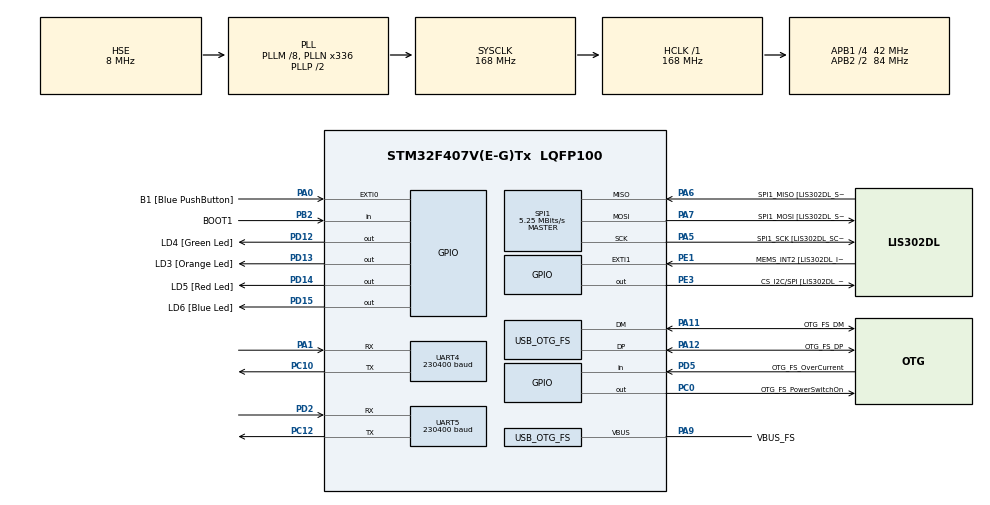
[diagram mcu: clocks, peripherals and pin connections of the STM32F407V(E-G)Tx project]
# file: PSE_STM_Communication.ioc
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Dma.Request0=UART4_RX
Dma.Request1=UART5_RX
Dma.UART4_RX.0.Direction=DMA_PERIPH_TO_MEMORY
Dma.UART4_RX.0.FIFOMode=DMA_FIFOMODE_DISABLE
Dma.UART4_RX.0.Instance=DMA1_Stream2
Dma.UART4_RX.0.MemDataAlignment=DMA_MDATAALIGN_BYTE
Dma.UART4_RX.0.MemInc=DMA_MINC_ENABLE
Dma.UART4_RX.0.Mode=DMA_NORMAL
Dma.UART4_RX.0.PeriphDataAlignment=DMA_PDATAALIGN_BYTE
Dma.UART4_RX.0.PeriphInc=DMA_PINC_DISABLE
Dma.UART4_RX.0.Priority=DMA_PRIORITY_LOW
Dma.UART5_RX.1.Direction=DMA_PERIPH_TO_MEMORY
Dma.UART5_RX.1.FIFOMode=DMA_FIFOMODE_DISABLE
Dma.UART5_RX.1.Instance=DMA1_Stream0
Dma.UART5_RX.1.MemDataAlignment=DMA_MDATAALIGN_BYTE
Dma.UART5_RX.1.MemInc=DMA_MINC_ENABLE
Dma.UART5_RX.1.Mode=DMA_NORMAL
Dma.UART5_RX.1.PeriphDataAlignment=DMA_PDATAALIGN_BYTE
Dma.UART5_RX.1.PeriphInc=DMA_PINC_DISABLE
Dma.UART5_RX.1.Priority=DMA_PRIORITY_LOW
Mcu.Family=STM32F4
Mcu.Name=STM32F407V(E-G)Tx
Mcu.Package=LQFP100
NVIC.DMA1_Stream0_IRQn=true\:0\:0\:false\:false\:true\:false\:true\:true
NVIC.DMA1_Stream2_IRQn=true\:0\:0\:false\:false\:true\:false\:true\:true
NVIC.EXTI0_IRQn=true\:0\:0\:false\:false\:true\:true\:true\:true
NVIC.OTG_FS_IRQn=true\:0\:0\:false\:false\:true\:true\:true\:true
NVIC.PriorityGroup=NVIC_PRIORITYGROUP_0
NVIC.TIM2_IRQn=true\:0\:0\:false\:false\:true\:true\:true\:true
NVIC.UART4_IRQn=true\:0\:0\:false\:false\:true\:true\:true\:true
NVIC.UART5_IRQn=true\:0\:0\:false\:false\:true\:true\:true\:true
PA0-WKUP.GPIO_Label=B1 [Blue PushButton]
PA0-WKUP.GPIO_ModeDefaultEXTI=GPIO_MODE_IT_RISING
PA0-WKUP.GPIO_PuPd=GPIO_NOPULL
PA0-WKUP.Signal=GPXTI0
PA1.Mode=Asynchronous
PA1.Signal=UART4_RX
PA10.GPIO_Label=OTG_FS_ID
PA10.GPIO_Mode=GPIO_MODE_AF_PP
PA10.GPIO_PuPd=GPIO_NOPULL
PA10.GPIO_Speed=GPIO_SPEED_FREQ_LOW
PA10.Signal=USB_OTG_FS_ID
PA11.GPIO_Label=OTG_FS_DM
PA11.GPIO_Mode=GPIO_MODE_AF_PP
PA11.GPIO_PuPd=GPIO_NOPULL
PA11.GPIO_Speed=GPIO_SPEED_FREQ_LOW
PA11.Mode=Host_Only
PA11.Signal=USB_OTG_FS_DM
PA12.GPIO_Label=OTG_FS_DP
PA12.GPIO_Mode=GPIO_MODE_AF_PP
PA12.GPIO_PuPd=GPIO_NOPULL
PA12.GPIO_Speed=GPIO_SPEED_FREQ_LOW
PA12.Mode=Host_Only
PA12.Signal=USB_OTG_FS_DP
PA13.GPIO_Label=SWDIO
PA13.Mode=Serial_Wire
PA13.Signal=SYS_JTMS-SWDIO
PA14.GPIO_Label=SWCLK
PA14.Mode=Serial_Wire
PA14.Signal=SYS_JTCK-SWCLK
PA5.GPIO_Label=SPI1_SCK [LIS302DL_SCL/SPC]
PA5.GPIO_Mode=GPIO_MODE_AF_PP
PA5.GPIO_PuPd=GPIO_NOPULL
PA5.GPIO_Speed=GPIO_SPEED_FREQ_LOW
PA5.Mode=Full_Duplex_Master
PA5.Signal=SPI1_SCK
PA6.GPIO_Label=SPI1_MISO [LIS302DL_SDO]
PA6.GPIO_Mode=GPIO_MODE_AF_PP
PA6.GPIO_PuPd=GPIO_NOPULL
PA6.GPIO_Speed=GPIO_SPEED_FREQ_LOW
PA6.Mode=Full_Duplex_Master
PA6.Signal=SPI1_MISO
PA7.GPIO_Label=SPI1_MOSI [LIS302DL_SDA/SDI/SDO]
PA7.GPIO_Mode=GPIO_MODE_AF_PP
PA7.GPIO_PuPd=GPIO_NOPULL
PA7.GPIO_Speed=GPIO_SPEED_FREQ_LOW
PA7.Mode=Full_Duplex_Master
PA7.Signal=SPI1_MOSI
PA9.GPIO_Label=VBUS_FS
PA9.GPIO_Mode=GPIO_MODE_INPUT
PA9.GPIO_PuPd=GPIO_NOPULL
PA9.Mode=Activate_VBUS
PA9.Signal=USB_OTG_FS_VBUS
PB10.GPIO_Label=CLK_IN [MP45DT02_CLK]
PB10.GPIO_Mode=GPIO_MODE_AF_PP
PB10.GPIO_PuPd=GPIO_NOPULL
PB10.GPIO_Speed=GPIO_SPEED_FREQ_LOW
PB10.Signal=I2S2_CK
PB2.GPIO_Label=BOOT1
PB2.GPIO_Mode=GPIO_MODE_INPUT
PB2.GPIO_PuPd=GPIO_NOPULL
PB2.Signal=GPIO_Input
PB3.GPIO_Label=SWO
PB3.Signal=SYS_JTDO-SWO
PC0.GPIO_Label=OTG_FS_PowerSwitchOn
PC0.GPIO_PuPd=GPIO_NOPULL
PC0.GPIO_Speed=GPIO_SPEED_FREQ_LOW
PC0.PinState=GPIO_PIN_SET
PC0.Signal=GPIO_Output
PC10.Mode=Asynchronous
PC10.Signal=UART4_TX
PC12.Mode=Asynchronous
PC12.Signal=UART5_TX
PC14-OSC32_IN.GPIO_Label=PC14-OSC32_IN
PC14-OSC32_IN.Mode=LSE-External-Oscillator
PC14-OSC32_IN.Signal=RCC_OSC32_IN
PC15-OSC32_OUT.GPIO_Label=PC15-OSC32_OUT
PC15-OSC32_OUT.Mode=LSE-External-Oscillator
PC15-OSC32_OUT.Signal=RCC_OSC32_OUT
PD12.GPIO_Label=LD4 [Green Led]
PD12.GPIO_PuPd=GPIO_NOPULL
PD12.GPIO_Speed=GPIO_SPEED_FREQ_LOW
PD12.Signal=GPIO_Output
PD13.GPIO_Label=LD3 [Orange Led]
PD13.GPIO_PuPd=GPIO_NOPULL
PD13.GPIO_Speed=GPIO_SPEED_FREQ_LOW
PD13.Signal=GPIO_Output
PD14.GPIO_Label=LD5 [Red Led]
PD14.GPIO_PuPd=GPIO_NOPULL
PD14.GPIO_Speed=GPIO_SPEED_FREQ_LOW
PD14.Signal=GPIO_Output
PD15.GPIO_Label=LD6 [Blue Led]
PD15.GPIO_PuPd=GPIO_NOPULL
PD15.GPIO_Speed=GPIO_SPEED_FREQ_LOW
PD15.Signal=GPIO_Output
PD2.Mode=Asynchronous
PD2.Signal=UART5_RX
PD5.GPIO_Label=OTG_FS_OverCurrent
PD5.GPIO_Mode=GPIO_MODE_INPUT
PD5.GPIO_PuPd=GPIO_NOPULL
PD5.Signal=GPIO_Input
PE1.GPIO_Label=MEMS_INT2 [LIS302DL_INT2]
PE1.GPIO_ModeDefaultEXTI=GPIO_MODE_EVT_RISING
PE1.GPIO_PuPd=GPIO_NOPULL
PE1.Signal=GPXTI1
PE3.GPIO_Label=CS_I2C/SPI [LIS302DL_CS_I2C/SPI]
PE3.GPIO_PuPd=GPIO_NOPULL
PE3.GPIO_Speed=GPIO_SPEED_FREQ_LOW
PE3.Signal=GPIO_Output
PH0-OSC_IN.GPIO_Label=PH0-OSC_IN
PH0-OSC_IN.Mode=HSE-External-Oscillator
PH0-OSC_IN.Signal=RCC_OSC_IN
PH1-OSC_OUT.GPIO_Label=PH1-OSC_OUT
PH1-OSC_OUT.Mode=HSE-External-Oscillator
PH1-OSC_OUT.Signal=RCC_OSC_OUT
ProjectManager.HeapSize=0x200
ProjectManager.StackSize=0x400
ProjectManager.TargetToolchain=STM32CubeIDE
RCC.48MHZClocksFreq_Value=48000000
RCC.AHBFreq_Value=168000000
RCC.APB1CLKDivider=RCC_HCLK_DIV4
RCC.APB1Freq_Value=42000000
RCC.APB1TimFreq_Value=84000000
RCC.APB2CLKDivider=RCC_HCLK_DIV2
RCC.APB2Freq_Value=84000000
RCC.APB2TimFreq_Value=168000000
RCC.CortexFreq_Value=168000000
RCC.HCLKFreq_Value=168000000
RCC.HSE_VALUE=8000000
RCC.HSI_VALUE=16000000
RCC.PLLM=8
RCC.PLLN=336
RCC.PLLQ=7
RCC.SYSCLKFreq_VALUE=168000000
RCC.SYSCLKSource=RCC_SYSCLKSOURCE_PLLCLK
RCC.VCOOutputFreq_Value=336000000
SPI1.BaudRatePrescaler=SPI_BAUDRATEPRESCALER_16
SPI1.BaudRatePrescaler-Full_Duplex_Master=SPI_BAUDRATEPRESCALER_2
SPI1.CalculateBaudRate=5.25 MBits/s
SPI1.CalculateBaudRate-Full_Duplex_Master=42.0 MBits/s
SPI1.Direction=SPI_DIRECTION_2LINES
SPI1.Mode=SPI_MODE_MASTER
SPI1.Mode-Full_Duplex_Master=SPI_MODE_MASTER
SPI1.VirtualType=VM_MASTER
TIM2.Period=10000
TIM2.Prescaler=84
UART4.BaudRate=230400
UART4.VirtualMode=Asynchronous
UART5.BaudRate=230400
UART5.VirtualMode=Asynchronous
USB_OTG_FS.VirtualMode=Host_Only
USB_OTG_FS.phy_itface=HCD_PHY_EMBEDDED
VP_TIM2_VS_ClockSourceINT.Mode=Internal
board=STM32F407G-DISC1

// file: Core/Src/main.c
/* USER CODE BEGIN Header */
/**
  ******************************************************************************
  * @file           : main.c
  * @brief          : Main program body
  ******************************************************************************
  * @attention
  *
  * Copyright (c) 2023 STMicroelectronics.
  * All rights reserved.
  *
  * This software is licensed under terms that can be found in the LICENSE file
  * in the root directory of this software component.
  * If no LICENSE file comes with this software, it is provided AS-IS.
  *
  ******************************************************************************
  */
/* USER CODE END Header */
#include "main.h"

/* USER CODE BEGIN Includes */

#include <stdint.h>
#include <stdbool.h>

#include "bufHandler.h"
#include "ledToggler.h"
#include "MEMS_LIS3DSH.h"
/* USER CODE END Includes */

/* USER CODE BEGIN PTD */
MEMS_DataScaled_t MEMSData;
MEMSHandler_t     hMEMS;
MEMS_Config_t     MEMSConfig;
/* USER CODE END PTD */

/* USER CODE BEGIN PD */

#define MSG_TOTAL_BYTES			13
#define BUFFER_MSG_CAPACITY		20	// In messages
#define EV_REQ_ID				0xFF
#define ID_SELF                 ((uint8_t)1)

/* USER CODE END PD */

SPI_HandleTypeDef hspi1;

TIM_HandleTypeDef htim2;

UART_HandleTypeDef huart4;
UART_HandleTypeDef huart5;
DMA_HandleTypeDef hdma_uart4_rx;
DMA_HandleTypeDef hdma_uart5_rx;

HCD_HandleTypeDef hhcd_USB_OTG_FS;

/* USER CODE BEGIN PV */

static MsgBuffer_t _emMsgBuf[BUFFER_MSG_CAPACITY];
static MsgBuffer_t _evMsgBuf[BUFFER_MSG_CAPACITY];

static UART_HandleTypeDef *pEM_UART = &huart4;
static UART_HandleTypeDef *pEV_UART = &huart5;

static BufHandler_t _emHandler;
static BufHandler_t _evHandler;

static MsgBuffer_t _sensorData = {0};
static bool _sendSensorData = false;

static bool _readSensorData = false;

/* USER CODE END PV */

void SystemClock_Config(void);
static void MX_GPIO_Init(void);
static void MX_DMA_Init(void);
static void MX_SPI1_Init(void);
static void MX_USB_OTG_FS_HCD_Init(void);
static void MX_UART4_Init(void);
static void MX_UART5_Init(void);
static void MX_TIM2_Init(void);

/* USER CODE BEGIN 0 */

static void triggerSensorDataSend()
{
    _sendSensorData = true;
}

// Trigger sampling of sensor data
void triggerReadSensorData()
{
	_readSensorData = true;
}

static void transmitEvReqToEm()
{
    bool ret = bufHandler_transmitUartData(&_evHandler);

    if (!ret)
    {
        return;
    }

	bufHandler_increaseSendIndex(&_evHandler);
}

static void transmitEmDataToEv()
{
    bool ret = bufHandler_transmitUartData(&_emHandler);

    if (!ret)
    {
        return;
    }

	bufHandler_increaseSendIndex(&_emHandler);
}

void HAL_UART_RxCpltCallback(UART_HandleTypeDef *huart)
{
	if (huart == bufHandler_rxUart(&_emHandler))
	{
        bufHandler_increaseRcvIndex(&_emHandler);
        bufHandler_receiveUartData(&_emHandler);
	}
	else if (huart == bufHandler_rxUart(&_evHandler))
	{
		const uint8_t *msg = bufHandler_getReceivedData(&_evHandler);

        // If the msg ID isn't valid, the message will simply be dropped.
        if (msg[0] == EV_REQ_ID)
        {
            bufHandler_increaseRcvIndex(&_evHandler);
            triggerReadSensorData();
        }

        bufHandler_receiveUartData(&_evHandler);
	}
}

void HAL_UART_TxCpltCallback(UART_HandleTypeDef *huart)
{
	if (huart == bufHandler_txUart(&_emHandler))
	{
        bufHandler_setTxAvailable(&_emHandler);
	}
	else if (huart == bufHandler_txUart(&_evHandler))
	{
		bufHandler_setTxAvailable(&_evHandler);
	}
}

// Convert MEMS_DataScaled_t data type to MsgBuffer_t data type
void convert_bufType(MEMS_DataScaled_t MEMS_data, MsgBuffer_t buf)
{
    buf[0] = ID_SELF;

    float *sensorData = (float *)&buf[1];
    sensorData[0] = MEMSData.x;
    sensorData[1] = MEMSData.y;
    sensorData[2] = MEMSData.z;
}

// Timer 2 callback -> request sensor read (LED for debug)
void HAL_TIM_PeriodElapsedCallback(TIM_HandleTypeDef* htim)
{
	// Request sensor data read
	triggerReadSensorData();

	// Toggle debug LED
    HAL_GPIO_TogglePin(GPIOD, LD6_Pin);
}

void HAL_GPIO_EXTI_Callback(uint16_t GPIO_Pin)
{
    triggerReadSensorData();
}

/* USER CODE END 0 */

int main(void)
{

  /* MCU Configuration--------------------------------------------------------*/

  /* Reset of all peripherals, Initializes the Flash interface and the Systick. */
  HAL_Init();

  /* Configure the system clock */
  SystemClock_Config();

  /* Initialize all configured peripherals */
  MX_GPIO_Init();
  MX_DMA_Init();
  MX_SPI1_Init();
  MX_USB_OTG_FS_HCD_Init();
  MX_UART4_Init();
  MX_UART5_Init();
  MX_TIM2_Init();
  /* USER CODE BEGIN 2 */

  // MEMS Configuration
  MEMSConfig.dataRate   = LIS3DSH_ODR_100;
  MEMSConfig.fullScale  = LIS3DSH_FSCALE_2;
  MEMSConfig.enableAxes = LIS3DSH_XYZ_ENABLE;

  // MEMS Init
  MEMS_Init(&hMEMS, &hspi1, MEMSConfig);

  // uint8_t who_am_i[1];
  // MEMS_ReadReg(hMEMS.pSPI,LIS3DSH_WHO_AM_I_ADDR,who_am_i,1);

  // MEMS Calibration
  //  MEMS_X_calibrate(-1000.0, 980.0);
  //  MEMS_Y_calibrate(-1020.0, 1040.0);
  //  MEMS_Z_calibrate(-920.0, 1040.0);

    LedToggler_t togglerRed;
    LedToggler_t togglerGreen;

    ledToggler_init(&togglerRed, 250, LD5_GPIO_Port, LD5_Pin);
    ledToggler_init(&togglerGreen, 250, LD4_GPIO_Port, LD4_Pin);

    bufHandler_init(&_emHandler, _emMsgBuf, BUFFER_MSG_CAPACITY);
    bufHandler_init(&_evHandler, _evMsgBuf, BUFFER_MSG_CAPACITY);

    bufHandler_setUart(&_emHandler, pEV_UART, pEM_UART);
    bufHandler_setUart(&_evHandler, pEM_UART, pEV_UART);

    bufHandler_receiveUartData(&_emHandler);
    bufHandler_receiveUartData(&_evHandler);

    // Start timer 2
    HAL_TIM_Base_Start_IT(&htim2);

  /* USER CODE END 2 */

  /* Infinite loop */
  /* USER CODE BEGIN WHILE */
	while (1)
	{
        // Sample sensor data if requested ...
        if (_readSensorData)
        {
            MEMS_processDataRaw(&hMEMS);
            MEMS_processDataScaled(&hMEMS);
            MEMS_processDataMS2(&hMEMS);

        	// Read data from LIS3DSH
        	MEMSData = MEMS_getDataMS2(&hMEMS);

        	// Convert MEMS_DataScaled_t to MsgBuffer_t type
            convert_bufType(MEMSData, _sensorData);

        	// Trigger UART to send sensor data
        	triggerSensorDataSend();

        	// Clear flag t enable a new sensor read request
        	_readSensorData = false;
        }

        // Check first in order to send as soon as the UART is available
        if (_sendSensorData)
        {
            // We use the _emHandler because that's where the EV TX UART is
            // configured. It's as if the sensor data had come through the EM
            // UART>
            bool ret = bufHandler_sendData(&_emHandler, _sensorData);

            // Will only return true when it successfully sent data.
            if (ret)
            {
                _sendSensorData = false;
            }
        }

        if (!bufHandler_checkEmpty(&_emHandler))
        {
            transmitEmDataToEv();
            ledToggler_run(&togglerRed);
        }

        if (!bufHandler_checkEmpty(&_evHandler))
        {
            transmitEvReqToEm();
            ledToggler_run(&togglerGreen);
        }

    /* USER CODE END WHILE */

	}
}

void SystemClock_Config(void)
{
  RCC_OscInitTypeDef RCC_OscInitStruct = {0};
  RCC_ClkInitTypeDef RCC_ClkInitStruct = {0};

  /** Configure the main internal regulator output voltage
  */
  __HAL_RCC_PWR_CLK_ENABLE();
  __HAL_PWR_VOLTAGESCALING_CONFIG(PWR_REGULATOR_VOLTAGE_SCALE1);

  /** Initializes the RCC Oscillators according to the specified parameters
  * in the RCC_OscInitTypeDef structure.
  */
  RCC_OscInitStruct.OscillatorType = RCC_OSCILLATORTYPE_HSE;
  RCC_OscInitStruct.HSEState = RCC_HSE_ON;
  RCC_OscInitStruct.PLL.PLLState = RCC_PLL_ON;
  RCC_OscInitStruct.PLL.PLLSource = RCC_PLLSOURCE_HSE;
  RCC_OscInitStruct.PLL.PLLM = 8;
  RCC_OscInitStruct.PLL.PLLN = 336;
  RCC_OscInitStruct.PLL.PLLP = RCC_PLLP_DIV2;
  RCC_OscInitStruct.PLL.PLLQ = 7;
  if (HAL_RCC_OscConfig(&RCC_OscInitStruct) != HAL_OK)
  {
    Error_Handler();
  }

  /** Initializes the CPU, AHB and APB buses clocks
  */
  RCC_ClkInitStruct.ClockType = RCC_CLOCKTYPE_HCLK|RCC_CLOCKTYPE_SYSCLK
                              |RCC_CLOCKTYPE_PCLK1|RCC_CLOCKTYPE_PCLK2;
  RCC_ClkInitStruct.SYSCLKSource = RCC_SYSCLKSOURCE_PLLCLK;
  RCC_ClkInitStruct.AHBCLKDivider = RCC_SYSCLK_DIV1;
  RCC_ClkInitStruct.APB1CLKDivider = RCC_HCLK_DIV4;
  RCC_ClkInitStruct.APB2CLKDivider = RCC_HCLK_DIV2;

  if (HAL_RCC_ClockConfig(&RCC_ClkInitStruct, FLASH_LATENCY_5) != HAL_OK)
  {
    Error_Handler();
  }
}

static void MX_SPI1_Init(void)
{

  /* SPI1 parameter configuration*/
  hspi1.Instance = SPI1;
  hspi1.Init.Mode = SPI_MODE_MASTER;
  hspi1.Init.Direction = SPI_DIRECTION_2LINES;
  hspi1.Init.DataSize = SPI_DATASIZE_8BIT;
  hspi1.Init.CLKPolarity = SPI_POLARITY_LOW;
  hspi1.Init.CLKPhase = SPI_PHASE_1EDGE;
  hspi1.Init.NSS = SPI_NSS_SOFT;
  hspi1.Init.BaudRatePrescaler = SPI_BAUDRATEPRESCALER_16;
  hspi1.Init.FirstBit = SPI_FIRSTBIT_MSB;
  hspi1.Init.TIMode = SPI_TIMODE_DISABLE;
  hspi1.Init.CRCCalculation = SPI_CRCCALCULATION_DISABLE;
  hspi1.Init.CRCPolynomial = 10;
  if (HAL_SPI_Init(&hspi1) != HAL_OK)
  {
    Error_Handler();
  }

}

static void MX_TIM2_Init(void)
{

  TIM_ClockConfigTypeDef sClockSourceConfig = {0};
  TIM_MasterConfigTypeDef sMasterConfig = {0};

  htim2.Instance = TIM2;
  htim2.Init.Prescaler = 84;
  htim2.Init.CounterMode = TIM_COUNTERMODE_UP;
  htim2.Init.Period = 10000;
  htim2.Init.ClockDivision = TIM_CLOCKDIVISION_DIV1;
  htim2.Init.AutoReloadPreload = TIM_AUTORELOAD_PRELOAD_DISABLE;
  if (HAL_TIM_Base_Init(&htim2) != HAL_OK)
  {
    Error_Handler();
  }
  sClockSourceConfig.ClockSource = TIM_CLOCKSOURCE_INTERNAL;
  if (HAL_TIM_ConfigClockSource(&htim2, &sClockSourceConfig) != HAL_OK)
  {
    Error_Handler();
  }
  sMasterConfig.MasterOutputTrigger = TIM_TRGO_RESET;
  sMasterConfig.MasterSlaveMode = TIM_MASTERSLAVEMODE_DISABLE;
  if (HAL_TIMEx_MasterConfigSynchronization(&htim2, &sMasterConfig) != HAL_OK)
  {
    Error_Handler();
  }

}

static void MX_UART4_Init(void)
{

  huart4.Instance = UART4;
  huart4.Init.BaudRate = 230400;
  huart4.Init.WordLength = UART_WORDLENGTH_8B;
  huart4.Init.StopBits = UART_STOPBITS_1;
  huart4.Init.Parity = UART_PARITY_NONE;
  huart4.Init.Mode = UART_MODE_TX_RX;
  huart4.Init.HwFlowCtl = UART_HWCONTROL_NONE;
  huart4.Init.OverSampling = UART_OVERSAMPLING_16;
  if (HAL_UART_Init(&huart4) != HAL_OK)
  {
    Error_Handler();
  }

}

static void MX_UART5_Init(void)
{

  huart5.Instance = UART5;
  huart5.Init.BaudRate = 230400;
  huart5.Init.WordLength = UART_WORDLENGTH_8B;
  huart5.Init.StopBits = UART_STOPBITS_1;
  huart5.Init.Parity = UART_PARITY_NONE;
  huart5.Init.Mode = UART_MODE_TX_RX;
  huart5.Init.HwFlowCtl = UART_HWCONTROL_NONE;
  huart5.Init.OverSampling = UART_OVERSAMPLING_16;
  if (HAL_UART_Init(&huart5) != HAL_OK)
  {
    Error_Handler();
  }

}

static void MX_USB_OTG_FS_HCD_Init(void)
{

  hhcd_USB_OTG_FS.Instance = USB_OTG_FS;
  hhcd_USB_OTG_FS.Init.Host_channels = 8;
  hhcd_USB_OTG_FS.Init.speed = HCD_SPEED_FULL;
  hhcd_USB_OTG_FS.Init.dma_enable = DISABLE;
  hhcd_USB_OTG_FS.Init.phy_itface = HCD_PHY_EMBEDDED;
  hhcd_USB_OTG_FS.Init.Sof_enable = DISABLE;
  if (HAL_HCD_Init(&hhcd_USB_OTG_FS) != HAL_OK)
  {
    Error_Handler();
  }

}

static void MX_DMA_Init(void)
{

  /* DMA controller clock enable */
  __HAL_RCC_DMA1_CLK_ENABLE();

  /* DMA interrupt init */
  /* DMA1_Stream0_IRQn interrupt configuration */
  HAL_NVIC_SetPriority(DMA1_Stream0_IRQn, 0, 0);
  HAL_NVIC_EnableIRQ(DMA1_Stream0_IRQn);
  /* DMA1_Stream2_IRQn interrupt configuration */
  HAL_NVIC_SetPriority(DMA1_Stream2_IRQn, 0, 0);
  HAL_NVIC_EnableIRQ(DMA1_Stream2_IRQn);

}

static void MX_GPIO_Init(void)
{
  GPIO_InitTypeDef GPIO_InitStruct = {0};

  /* GPIO Ports Clock Enable */
  __HAL_RCC_GPIOE_CLK_ENABLE();
  __HAL_RCC_GPIOC_CLK_ENABLE();
  __HAL_RCC_GPIOH_CLK_ENABLE();
  __HAL_RCC_GPIOA_CLK_ENABLE();
  __HAL_RCC_GPIOB_CLK_ENABLE();
  __HAL_RCC_GPIOD_CLK_ENABLE();

  /*Configure GPIO pin Output Level */
  HAL_GPIO_WritePin(CS_I2C_SPI_GPIO_Port, CS_I2C_SPI_Pin, GPIO_PIN_RESET);

  /*Configure GPIO pin Output Level */
  HAL_GPIO_WritePin(OTG_FS_PowerSwitchOn_GPIO_Port, OTG_FS_PowerSwitchOn_Pin, GPIO_PIN_SET);

  /*Configure GPIO pin Output Level */
  HAL_GPIO_WritePin(GPIOD, LD4_Pin|LD3_Pin|LD5_Pin|LD6_Pin, GPIO_PIN_RESET);

  /*Configure GPIO pin : CS_I2C_SPI_Pin */
  GPIO_InitStruct.Pin = CS_I2C_SPI_Pin;
  GPIO_InitStruct.Mode = GPIO_MODE_OUTPUT_PP;
  GPIO_InitStruct.Pull = GPIO_NOPULL;
  GPIO_InitStruct.Speed = GPIO_SPEED_FREQ_LOW;
  HAL_GPIO_Init(CS_I2C_SPI_GPIO_Port, &GPIO_InitStruct);

  /*Configure GPIO pin : OTG_FS_PowerSwitchOn_Pin */
  GPIO_InitStruct.Pin = OTG_FS_PowerSwitchOn_Pin;
  GPIO_InitStruct.Mode = GPIO_MODE_OUTPUT_PP;
  GPIO_InitStruct.Pull = GPIO_NOPULL;
  GPIO_InitStruct.Speed = GPIO_SPEED_FREQ_LOW;
  HAL_GPIO_Init(OTG_FS_PowerSwitchOn_GPIO_Port, &GPIO_InitStruct);

  /*Configure GPIO pin : B1_Pin */
  GPIO_InitStruct.Pin = B1_Pin;
  GPIO_InitStruct.Mode = GPIO_MODE_IT_RISING;
  GPIO_InitStruct.Pull = GPIO_NOPULL;
  HAL_GPIO_Init(B1_GPIO_Port, &GPIO_InitStruct);

  /*Configure GPIO pin : BOOT1_Pin */
  GPIO_InitStruct.Pin = BOOT1_Pin;
  GPIO_InitStruct.Mode = GPIO_MODE_INPUT;
  GPIO_InitStruct.Pull = GPIO_NOPULL;
  HAL_GPIO_Init(BOOT1_GPIO_Port, &GPIO_InitStruct);

  /*Configure GPIO pin : CLK_IN_Pin */
  GPIO_InitStruct.Pin = CLK_IN_Pin;
  GPIO_InitStruct.Mode = GPIO_MODE_AF_PP;
  GPIO_InitStruct.Pull = GPIO_NOPULL;
  GPIO_InitStruct.Speed = GPIO_SPEED_FREQ_LOW;
  GPIO_InitStruct.Alternate = GPIO_AF5_SPI2;
  HAL_GPIO_Init(CLK_IN_GPIO_Port, &GPIO_InitStruct);

  /*Configure GPIO pins : LD4_Pin LD3_Pin LD5_Pin LD6_Pin */
  GPIO_InitStruct.Pin = LD4_Pin|LD3_Pin|LD5_Pin|LD6_Pin;
  GPIO_InitStruct.Mode = GPIO_MODE_OUTPUT_PP;
  GPIO_InitStruct.Pull = GPIO_NOPULL;
  GPIO_InitStruct.Speed = GPIO_SPEED_FREQ_LOW;
  HAL_GPIO_Init(GPIOD, &GPIO_InitStruct);

  /*Configure GPIO pin : OTG_FS_OverCurrent_Pin */
  GPIO_InitStruct.Pin = OTG_FS_OverCurrent_Pin;
  GPIO_InitStruct.Mode = GPIO_MODE_INPUT;
  GPIO_InitStruct.Pull = GPIO_NOPULL;
  HAL_GPIO_Init(OTG_FS_OverCurrent_GPIO_Port, &GPIO_InitStruct);

  /*Configure GPIO pin : MEMS_INT2_Pin */
  GPIO_InitStruct.Pin = MEMS_INT2_Pin;
  GPIO_InitStruct.Mode = GPIO_MODE_EVT_RISING;
  GPIO_InitStruct.Pull = GPIO_NOPULL;
  HAL_GPIO_Init(MEMS_INT2_GPIO_Port, &GPIO_InitStruct);

  /* EXTI interrupt init*/
  HAL_NVIC_SetPriority(EXTI0_IRQn, 0, 0);
  HAL_NVIC_EnableIRQ(EXTI0_IRQn);

}

void Error_Handler(void)
{
  __disable_irq();
  while (1)
  {
  }
}
